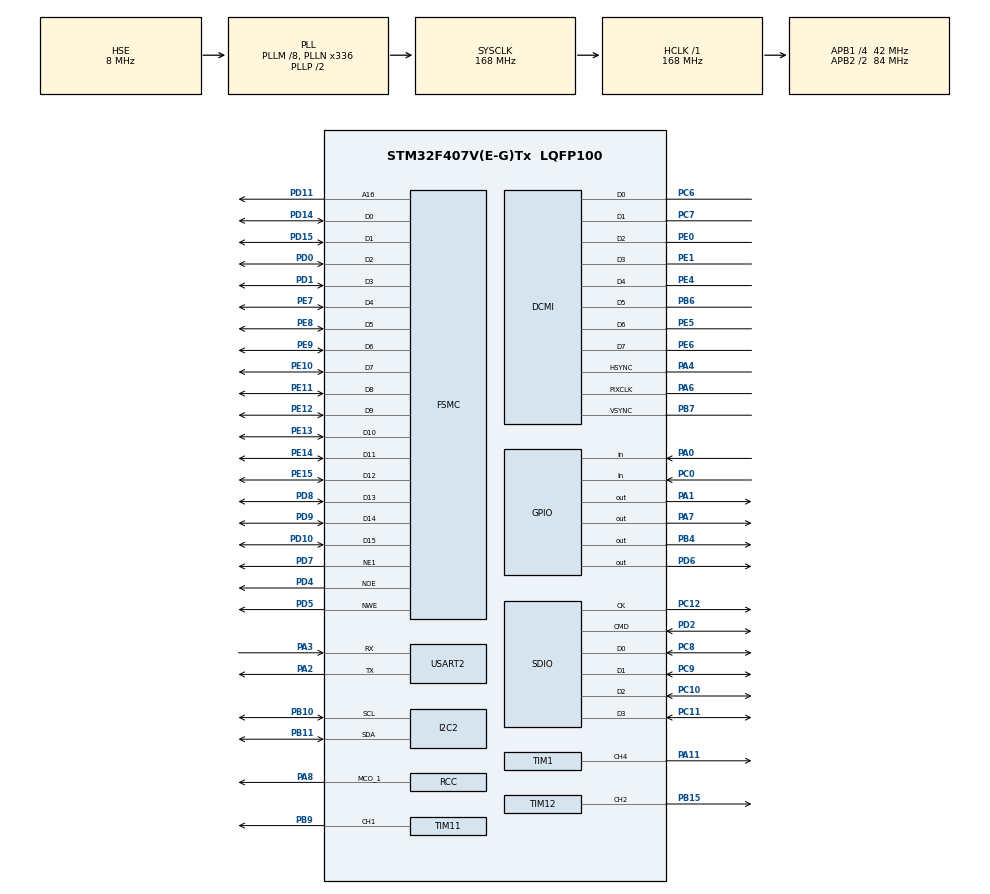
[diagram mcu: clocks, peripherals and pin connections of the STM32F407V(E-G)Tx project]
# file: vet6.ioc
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DCMI.HSPolarity=DCMI_HSPOLARITY_HIGH
DCMI.JPEGMode=DCMI_JPEG_DISABLE
DCMI.PCKPolarity=DCMI_PCKPOLARITY_RISING
Dma.DCMI.3.Direction=DMA_PERIPH_TO_MEMORY
Dma.DCMI.3.FIFOMode=DMA_FIFOMODE_ENABLE
Dma.DCMI.3.FIFOThreshold=DMA_FIFO_THRESHOLD_1QUARTERFULL
Dma.DCMI.3.Instance=DMA2_Stream1
Dma.DCMI.3.MemBurst=DMA_MBURST_SINGLE
Dma.DCMI.3.MemDataAlignment=DMA_MDATAALIGN_WORD
Dma.DCMI.3.MemInc=DMA_MINC_ENABLE
Dma.DCMI.3.Mode=DMA_CIRCULAR
Dma.DCMI.3.PeriphBurst=DMA_PBURST_SINGLE
Dma.DCMI.3.PeriphDataAlignment=DMA_PDATAALIGN_WORD
Dma.DCMI.3.PeriphInc=DMA_PINC_DISABLE
Dma.DCMI.3.Priority=DMA_PRIORITY_LOW
Dma.Request0=USART2_RX
Dma.Request1=SDIO_RX
Dma.Request2=SDIO_TX
Dma.Request3=DCMI
Dma.SDIO_RX.1.Direction=DMA_PERIPH_TO_MEMORY
Dma.SDIO_RX.1.FIFOMode=DMA_FIFOMODE_ENABLE
Dma.SDIO_RX.1.FIFOThreshold=DMA_FIFO_THRESHOLD_FULL
Dma.SDIO_RX.1.Instance=DMA2_Stream3
Dma.SDIO_RX.1.MemBurst=DMA_MBURST_INC4
Dma.SDIO_RX.1.MemDataAlignment=DMA_MDATAALIGN_WORD
Dma.SDIO_RX.1.MemInc=DMA_MINC_ENABLE
Dma.SDIO_RX.1.Mode=DMA_PFCTRL
Dma.SDIO_RX.1.PeriphBurst=DMA_PBURST_INC4
Dma.SDIO_RX.1.PeriphDataAlignment=DMA_PDATAALIGN_WORD
Dma.SDIO_RX.1.PeriphInc=DMA_PINC_DISABLE
Dma.SDIO_RX.1.Priority=DMA_PRIORITY_LOW
Dma.SDIO_TX.2.Direction=DMA_MEMORY_TO_PERIPH
Dma.SDIO_TX.2.FIFOMode=DMA_FIFOMODE_ENABLE
Dma.SDIO_TX.2.FIFOThreshold=DMA_FIFO_THRESHOLD_FULL
Dma.SDIO_TX.2.Instance=DMA2_Stream6
Dma.SDIO_TX.2.MemBurst=DMA_MBURST_INC4
Dma.SDIO_TX.2.MemDataAlignment=DMA_MDATAALIGN_WORD
Dma.SDIO_TX.2.MemInc=DMA_MINC_ENABLE
Dma.SDIO_TX.2.Mode=DMA_PFCTRL
Dma.SDIO_TX.2.PeriphBurst=DMA_PBURST_INC4
Dma.SDIO_TX.2.PeriphDataAlignment=DMA_PDATAALIGN_WORD
Dma.SDIO_TX.2.PeriphInc=DMA_PINC_DISABLE
Dma.SDIO_TX.2.Priority=DMA_PRIORITY_LOW
Dma.USART2_RX.0.Direction=DMA_PERIPH_TO_MEMORY
Dma.USART2_RX.0.FIFOMode=DMA_FIFOMODE_DISABLE
Dma.USART2_RX.0.Instance=DMA1_Stream5
Dma.USART2_RX.0.MemDataAlignment=DMA_MDATAALIGN_BYTE
Dma.USART2_RX.0.MemInc=DMA_MINC_ENABLE
Dma.USART2_RX.0.Mode=DMA_CIRCULAR
Dma.USART2_RX.0.PeriphDataAlignment=DMA_PDATAALIGN_BYTE
Dma.USART2_RX.0.PeriphInc=DMA_PINC_DISABLE
Dma.USART2_RX.0.Priority=DMA_PRIORITY_LOW
FATFS.BSP.number=1
FATFS.USE_DMA_CODE_SD=1
FATFS0.BSP.STBoard=false
FATFS0.BSP.api=Unknown
FATFS0.BSP.instance=PC0
FATFS0.BSP.ip=GPIO
FATFS0.BSP.mode=Input
FATFS0.BSP.name=Detect_SDIO
FATFS0.BSP.solution=PC0
FSMC.AddressSetupTime1=3
FSMC.BusTurnAroundDuration1=3
FSMC.DataSetupTime1=6
Mcu.Family=STM32F4
Mcu.Name=STM32F407V(E-G)Tx
Mcu.Package=LQFP100
NVIC.DCMI_IRQn=true\:0\:0\:false\:false\:true\:true\:true\:true
NVIC.DMA1_Stream5_IRQn=true\:0\:0\:false\:false\:true\:false\:true\:true
NVIC.DMA2_Stream1_IRQn=true\:0\:0\:false\:false\:true\:false\:true\:true
NVIC.DMA2_Stream3_IRQn=true\:0\:0\:false\:false\:true\:false\:true\:true
NVIC.DMA2_Stream6_IRQn=true\:0\:0\:false\:false\:true\:false\:true\:true
NVIC.PriorityGroup=NVIC_PRIORITYGROUP_4
NVIC.SDIO_IRQn=true\:0\:0\:false\:false\:true\:true\:true\:true
NVIC.USART2_IRQn=true\:0\:0\:false\:false\:true\:true\:true\:true
PA0-WKUP.GPIO_PuPd=GPIO_PULLDOWN
PA0-WKUP.Signal=GPIO_Input
PA1.GPIO_ModeDefaultOutputPP=GPIO_MODE_OUTPUT_OD
PA1.GPIO_PuPd=GPIO_NOPULL
PA1.Signal=GPIO_Output
PA11.Signal=S_TIM1_CH4
PA2.Mode=Asynchronous
PA2.Signal=USART2_TX
PA3.Mode=Asynchronous
PA3.Signal=USART2_RX
PA4.Mode=Slave_8_bits_External_Synchro
PA4.Signal=DCMI_HSYNC
PA6.Mode=Slave_8_bits_External_Synchro
PA6.Signal=DCMI_PIXCLK
PA7.GPIO_ModeDefaultOutputPP=GPIO_MODE_OUTPUT_OD
PA7.GPIO_PuPd=GPIO_NOPULL
PA7.Signal=GPIO_Output
PA8.Mode=Clock-out-1
PA8.Signal=RCC_MCO_1
PB10.GPIO_Pu=GPIO_PULLUP
PB10.Mode=I2C
PB10.Signal=I2C2_SCL
PB11.GPIO_Pu=GPIO_PULLUP
PB11.Mode=I2C
PB11.Signal=I2C2_SDA
PB15.Signal=S_TIM12_CH2
PB4.Signal=GPIO_Output
PB6.Mode=Slave_8_bits_External_Synchro
PB6.Signal=DCMI_D5
PB7.Mode=Slave_8_bits_External_Synchro
PB7.Signal=DCMI_VSYNC
PB9.Signal=S_TIM11_CH1
PC0.Signal=GPIO_Input
PC10.Mode=SD_4_bits_Wide_bus
PC10.Signal=SDIO_D2
PC11.Mode=SD_4_bits_Wide_bus
PC11.Signal=SDIO_D3
PC12.Mode=SD_4_bits_Wide_bus
PC12.Signal=SDIO_CK
PC6.Mode=Slave_8_bits_External_Synchro
PC6.Signal=DCMI_D0
PC7.Mode=Slave_8_bits_External_Synchro
PC7.Signal=DCMI_D1
PC8.Mode=SD_4_bits_Wide_bus
PC8.Signal=SDIO_D0
PC9.Mode=SD_4_bits_Wide_bus
PC9.Signal=SDIO_D1
PD0.Mode=16b-d1
PD0.Signal=FSMC_D2
PD1.Mode=16b-d1
PD1.Signal=FSMC_D3
PD10.Mode=16b-d1
PD10.Signal=FSMC_D15
PD11.Mode=A16_1
PD11.Signal=FSMC_A16
PD14.Mode=16b-d1
PD14.Signal=FSMC_D0
PD15.Mode=16b-d1
PD15.Signal=FSMC_D1
PD2.Mode=SD_4_bits_Wide_bus
PD2.Signal=SDIO_CMD
PD4.Mode=Lcd1
PD4.Signal=FSMC_NOE
PD5.Mode=Lcd1
PD5.Signal=FSMC_NWE
PD6.GPIO_ModeDefaultOutputPP=GPIO_MODE_OUTPUT_OD
PD6.GPIO_PuPd=GPIO_NOPULL
PD6.PinState=GPIO_PIN_RESET
PD6.Signal=GPIO_Output
PD7.Mode=NorPsramChipSelect1_1
PD7.Signal=FSMC_NE1
PD8.Mode=16b-d1
PD8.Signal=FSMC_D13
PD9.Mode=16b-d1
PD9.Signal=FSMC_D14
PE0.Mode=Slave_8_bits_External_Synchro
PE0.Signal=DCMI_D2
PE1.Mode=Slave_8_bits_External_Synchro
PE1.Signal=DCMI_D3
PE10.Mode=16b-d1
PE10.Signal=FSMC_D7
PE11.Mode=16b-d1
PE11.Signal=FSMC_D8
PE12.Mode=16b-d1
PE12.Signal=FSMC_D9
PE13.Mode=16b-d1
PE13.Signal=FSMC_D10
PE14.Mode=16b-d1
PE14.Signal=FSMC_D11
PE15.Mode=16b-d1
PE15.Signal=FSMC_D12
PE4.Mode=Slave_8_bits_External_Synchro
PE4.Signal=DCMI_D4
PE5.Mode=Slave_8_bits_External_Synchro
PE5.Signal=DCMI_D6
PE6.Mode=Slave_8_bits_External_Synchro
PE6.Signal=DCMI_D7
PE7.Mode=16b-d1
PE7.Signal=FSMC_D4
PE8.Mode=16b-d1
PE8.Signal=FSMC_D5
PE9.Mode=16b-d1
PE9.Signal=FSMC_D6
PH0-OSC_IN.Mode=HSE-External-Oscillator
PH0-OSC_IN.Signal=RCC_OSC_IN
PH1-OSC_OUT.Mode=HSE-External-Oscillator
PH1-OSC_OUT.Signal=RCC_OSC_OUT
ProjectManager.HeapSize=0x200
ProjectManager.StackSize=0x400
ProjectManager.TargetToolchain=STM32CubeIDE
RCC.48MHZClocksFreq_Value=48000000
RCC.AHBFreq_Value=168000000
RCC.APB1CLKDivider=RCC_HCLK_DIV4
RCC.APB1Freq_Value=42000000
RCC.APB1TimFreq_Value=84000000
RCC.APB2CLKDivider=RCC_HCLK_DIV2
RCC.APB2Freq_Value=84000000
RCC.APB2TimFreq_Value=168000000
RCC.CortexFreq_Value=168000000
RCC.HCLKFreq_Value=168000000
RCC.HSE_VALUE=8000000
RCC.HSI_VALUE=16000000
RCC.LSE_VALUE=32768
RCC.PLLM=8
RCC.PLLN=336
RCC.PLLQ=7
RCC.PLLSourceVirtual=RCC_PLLSOURCE_HSE
RCC.RCC_MCO1Source=RCC_MCO1SOURCE_HSE
RCC.SYSCLKFreq_VALUE=168000000
RCC.SYSCLKSource=RCC_SYSCLKSOURCE_PLLCLK
RCC.VCOOutputFreq_Value=336000000
SH.S_TIM11_CH1.0=TIM11_CH1,PWM Generation1 CH1
SH.S_TIM12_CH2.0=TIM12_CH2,PWM Generation2 CH2
SH.S_TIM1_CH4.0=TIM1_CH4,PWM Generation4 CH4
TIM1.Channel-PWM\ Generation4\ CH4=TIM_CHANNEL_4
TIM1.Period=16
TIM1.Pulse-PWM\ Generation4\ CH4=8
TIM11.Channel=TIM_CHANNEL_1
TIM11.Period=2000
TIM11.Pulse=1000
TIM12.Channel-PWM\ Generation2\ CH2=TIM_CHANNEL_2
TIM12.Period=2000
TIM12.Pulse-PWM\ Generation2\ CH2=1000
USART2.VirtualMode=VM_ASYNC
VP_FATFS_VS_SDIO.Mode=SDIO
VP_TIM11_VS_ClockSourceINT.Mode=Enable_Timer
board=custom

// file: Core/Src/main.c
/* USER CODE BEGIN Header */
/**
  ******************************************************************************
  * @file           : main.c
  * @brief          : Main program body
  ******************************************************************************
  * @attention
  *
  * Copyright (c) 2025 STMicroelectronics.
  * All rights reserved.
  *
  * This software is licensed under terms that can be found in the LICENSE file
  * in the root directory of this software component.
  * If no LICENSE file comes with this software, it is provided AS-IS.
  *
  ******************************************************************************
  */
#include "common.h"
#include "lprintf.h"
#include <string.h>

/* USER CODE END Header */
#include "main.h"
#include "fatfs.h"
#include "lcd_nt35510.h"

DCMI_HandleTypeDef hdcmi;
DMA_HandleTypeDef hdma_dcmi;

I2C_HandleTypeDef hi2c2;

SD_HandleTypeDef hsd;
DMA_HandleTypeDef hdma_sdio_rx;
DMA_HandleTypeDef hdma_sdio_tx;

TIM_HandleTypeDef htim1;
TIM_HandleTypeDef htim11;
TIM_HandleTypeDef htim12;

UART_HandleTypeDef huart2;
DMA_HandleTypeDef hdma_usart2_rx;

SRAM_HandleTypeDef hsram1;

/* USER CODE BEGIN PV */
int g_dcmi_cfg = 0x101;
int g_lcd=0;

/* USER CODE END PV */

void SystemClock_Config(void);
static void MX_GPIO_Init(void);
static void MX_DMA_Init(void);
static void MX_USART2_UART_Init(void);
static void MX_SDIO_SD_Init(void);
static void MX_FSMC_Init(void);
static void MX_I2C2_Init(void);
static void MX_TIM1_Init(void);
static void MX_TIM12_Init(void);
static void MX_TIM11_Init(void);

/* USER CODE BEGIN 0 */
void delay(int a)
{
    volatile int wt=a;
    while(wt--){
        volatile int wt2=1000;
        while(wt2--);
    }
}

void __io_putchar(char c)
{
    HAL_UART_Transmit(&huart2, (unsigned char*)&c, 1, 10000);
}

void putchars(const char *pt)
{
    HAL_UART_Transmit(&huart2, (const unsigned char*)pt, strlen((const char*)pt), 10000);
}

uint8_t __io_getchar()
{
	uint8_t c;
	HAL_UART_Receive(&huart2, &c, 1, HAL_MAX_DELAY);
	return c;
}

/* USER CODE END 0 */

int main(void)
{

  /* MCU Configuration--------------------------------------------------------*/

  /* Reset of all peripherals, Initializes the Flash interface and the Systick. */
  HAL_Init();

  /* Configure the system clock */
  SystemClock_Config();

  /* Initialize all configured peripherals */
  MX_GPIO_Init();
  MX_DMA_Init();
  MX_USART2_UART_Init();
  lprintf("uart2 ready\r\n");
  MX_SDIO_SD_Init();
#ifdef ENABLE_SDFS
  MX_FATFS_Init();
#else
  HAL_SD_Init(&hsd);
#endif
  MX_FSMC_Init();
  MX_I2C2_Init();
  MX_DCMI_Init();
  MX_TIM1_Init();
  MX_TIM12_Init();
  MX_TIM11_Init();
  /* USER CODE BEGIN 2 */
  if (HAL_TIM_PWM_Start(&htim1, TIM_CHANNEL_4) != HAL_OK)
  {
    /* PWM Generation Error */
    lprintf("pwm on PA11 fail\r\n");
    Error_Handler();
  }
  else{
    lprintf("pwm on PA11 start OK\r\n");
  }

  /* USER CODE END 2 */

  /* Infinite loop */
  /* USER CODE BEGIN WHILE */
  int t=5;
  while (t--)
  {
    /* USER CODE END WHILE */

    /* USER CODE BEGIN 3 */
    HAL_GPIO_WritePin(GPIOB, GPIO_PIN_4, GPIO_PIN_SET);
    delay(100);
    logline;
    HAL_GPIO_WritePin(GPIOB, GPIO_PIN_4, GPIO_PIN_RESET);
    delay(100);
    logline;
  }
  prt_dec(HAL_RCC_GetHCLKFreq());
  prt_dec(HAL_GetTickFreq());
  if(0x5510==LCD_Read_ID()){
      g_lcd=1;
      lprintf("detect lcd controller:nt35510, init lcd\r\n");
      LCD_Init();
  }
  cam_init(0xa);
  run_cmd_interface();
  while(1);
  /* USER CODE END 3 */
}

void SystemClock_Config(void)
{
  RCC_OscInitTypeDef RCC_OscInitStruct = {0};
  RCC_ClkInitTypeDef RCC_ClkInitStruct = {0};

  /** Configure the main internal regulator output voltage
  */
  __HAL_RCC_PWR_CLK_ENABLE();
  __HAL_PWR_VOLTAGESCALING_CONFIG(PWR_REGULATOR_VOLTAGE_SCALE1);

  /** Initializes the RCC Oscillators according to the specified parameters
  * in the RCC_OscInitTypeDef structure.
  */
  RCC_OscInitStruct.OscillatorType = RCC_OSCILLATORTYPE_HSE;
  RCC_OscInitStruct.HSEState = RCC_HSE_ON;
  RCC_OscInitStruct.PLL.PLLState = RCC_PLL_ON;
  RCC_OscInitStruct.PLL.PLLSource = RCC_PLLSOURCE_HSE;
  RCC_OscInitStruct.PLL.PLLM = 8;
  RCC_OscInitStruct.PLL.PLLN = 336;
  RCC_OscInitStruct.PLL.PLLP = RCC_PLLP_DIV2;
  RCC_OscInitStruct.PLL.PLLQ = 7;
  if (HAL_RCC_OscConfig(&RCC_OscInitStruct) != HAL_OK)
  {
    Error_Handler();
  }

  /** Initializes the CPU, AHB and APB buses clocks
  */
  RCC_ClkInitStruct.ClockType = RCC_CLOCKTYPE_HCLK|RCC_CLOCKTYPE_SYSCLK
                              |RCC_CLOCKTYPE_PCLK1|RCC_CLOCKTYPE_PCLK2;
  RCC_ClkInitStruct.SYSCLKSource = RCC_SYSCLKSOURCE_PLLCLK;
  RCC_ClkInitStruct.AHBCLKDivider = RCC_SYSCLK_DIV1;
  RCC_ClkInitStruct.APB1CLKDivider = RCC_HCLK_DIV4;
  RCC_ClkInitStruct.APB2CLKDivider = RCC_HCLK_DIV2;

  if (HAL_RCC_ClockConfig(&RCC_ClkInitStruct, FLASH_LATENCY_5) != HAL_OK)
  {
    Error_Handler();
  }
  HAL_RCC_MCOConfig(RCC_MCO1, RCC_MCO1SOURCE_HSE, RCC_MCODIV_1);
}

void MX_DCMI_Init(void)
{

  hdcmi.Instance = DCMI;
  hdcmi.Init.SynchroMode = DCMI_SYNCHRO_HARDWARE;
  if(g_dcmi_cfg&0xf){
      hdcmi.Init.PCKPolarity = DCMI_PCKPOLARITY_RISING;
  }
  else{
      hdcmi.Init.PCKPolarity = DCMI_PCKPOLARITY_FALLING;
  }
  if(g_dcmi_cfg&0xf00){
      hdcmi.Init.VSPolarity = DCMI_VSPOLARITY_HIGH;
  }
  else{
      hdcmi.Init.VSPolarity = DCMI_VSPOLARITY_LOW;
  }
  if(g_dcmi_cfg&0xf0){
      hdcmi.Init.HSPolarity = DCMI_HSPOLARITY_HIGH;
  }
  else{
      hdcmi.Init.HSPolarity = DCMI_HSPOLARITY_LOW;
  }
  hdcmi.Init.CaptureRate = DCMI_CR_ALL_FRAME;
  hdcmi.Init.ExtendedDataMode = DCMI_EXTEND_DATA_8B;
  hdcmi.Init.JPEGMode = DCMI_JPEG_DISABLE;
  prt_hex(hdcmi.Init.PCKPolarity);
  prt_hex(hdcmi.Init.HSPolarity);
  prt_hex(hdcmi.Init.VSPolarity);
  if (HAL_DCMI_Init(&hdcmi) != HAL_OK)
  {
    Error_Handler();
  }

}

static void MX_I2C2_Init(void)
{

  hi2c2.Instance = I2C2;
  hi2c2.Init.ClockSpeed = 100000;
  hi2c2.Init.DutyCycle = I2C_DUTYCYCLE_2;
  hi2c2.Init.OwnAddress1 = 0;
  hi2c2.Init.AddressingMode = I2C_ADDRESSINGMODE_7BIT;
  hi2c2.Init.DualAddressMode = I2C_DUALADDRESS_DISABLE;
  hi2c2.Init.OwnAddress2 = 0;
  hi2c2.Init.GeneralCallMode = I2C_GENERALCALL_DISABLE;
  hi2c2.Init.NoStretchMode = I2C_NOSTRETCH_DISABLE;
  if (HAL_I2C_Init(&hi2c2) != HAL_OK)
  {
    Error_Handler();
  }

}

static void MX_SDIO_SD_Init(void)
{

  hsd.Instance = SDIO;
  hsd.Init.ClockEdge = SDIO_CLOCK_EDGE_RISING;
  hsd.Init.ClockBypass = SDIO_CLOCK_BYPASS_DISABLE;
  hsd.Init.ClockPowerSave = SDIO_CLOCK_POWER_SAVE_DISABLE;
  hsd.Init.BusWide = SDIO_BUS_WIDE_1B;
  hsd.Init.HardwareFlowControl = SDIO_HARDWARE_FLOW_CONTROL_DISABLE;
  hsd.Init.ClockDiv = 0;

}

static void MX_TIM1_Init(void)
{

  TIM_MasterConfigTypeDef sMasterConfig = {0};
  TIM_OC_InitTypeDef sConfigOC = {0};
  TIM_BreakDeadTimeConfigTypeDef sBreakDeadTimeConfig = {0};

  htim1.Instance = TIM1;
  htim1.Init.Prescaler = 0;
  htim1.Init.CounterMode = TIM_COUNTERMODE_UP;
  htim1.Init.Period = 20;
  htim1.Init.ClockDivision = TIM_CLOCKDIVISION_DIV1;
  htim1.Init.RepetitionCounter = 0;
  htim1.Init.AutoReloadPreload = TIM_AUTORELOAD_PRELOAD_DISABLE;
  if (HAL_TIM_PWM_Init(&htim1) != HAL_OK)
  {
    Error_Handler();
  }
  sMasterConfig.MasterOutputTrigger = TIM_TRGO_RESET;
  sMasterConfig.MasterSlaveMode = TIM_MASTERSLAVEMODE_DISABLE;
  if (HAL_TIMEx_MasterConfigSynchronization(&htim1, &sMasterConfig) != HAL_OK)
  {
    Error_Handler();
  }
  sConfigOC.OCMode = TIM_OCMODE_PWM1;
  sConfigOC.Pulse = 10;
  sConfigOC.OCPolarity = TIM_OCPOLARITY_HIGH;
  sConfigOC.OCFastMode = TIM_OCFAST_DISABLE;
  sConfigOC.OCIdleState = TIM_OCIDLESTATE_RESET;
  sConfigOC.OCNIdleState = TIM_OCNIDLESTATE_RESET;
  if (HAL_TIM_PWM_ConfigChannel(&htim1, &sConfigOC, TIM_CHANNEL_4) != HAL_OK)
  {
    Error_Handler();
  }
  sBreakDeadTimeConfig.OffStateRunMode = TIM_OSSR_DISABLE;
  sBreakDeadTimeConfig.OffStateIDLEMode = TIM_OSSI_DISABLE;
  sBreakDeadTimeConfig.LockLevel = TIM_LOCKLEVEL_OFF;
  sBreakDeadTimeConfig.DeadTime = 0;
  sBreakDeadTimeConfig.BreakState = TIM_BREAK_DISABLE;
  sBreakDeadTimeConfig.BreakPolarity = TIM_BREAKPOLARITY_HIGH;
  sBreakDeadTimeConfig.AutomaticOutput = TIM_AUTOMATICOUTPUT_DISABLE;
  if (HAL_TIMEx_ConfigBreakDeadTime(&htim1, &sBreakDeadTimeConfig) != HAL_OK)
  {
    Error_Handler();
  }
  HAL_TIM_MspPostInit(&htim1);

}

static void MX_TIM11_Init(void)
{

  TIM_OC_InitTypeDef sConfigOC = {0};

  htim11.Instance = TIM11;
  htim11.Init.Prescaler = 0;
  htim11.Init.CounterMode = TIM_COUNTERMODE_UP;
  htim11.Init.Period = 2000;
  htim11.Init.ClockDivision = TIM_CLOCKDIVISION_DIV1;
  htim11.Init.AutoReloadPreload = TIM_AUTORELOAD_PRELOAD_DISABLE;
  if (HAL_TIM_Base_Init(&htim11) != HAL_OK)
  {
    Error_Handler();
  }
  if (HAL_TIM_PWM_Init(&htim11) != HAL_OK)
  {
    Error_Handler();
  }
  sConfigOC.OCMode = TIM_OCMODE_PWM1;
  sConfigOC.Pulse = 1000;
  sConfigOC.OCPolarity = TIM_OCPOLARITY_HIGH;
  sConfigOC.OCFastMode = TIM_OCFAST_DISABLE;
  if (HAL_TIM_PWM_ConfigChannel(&htim11, &sConfigOC, TIM_CHANNEL_1) != HAL_OK)
  {
    Error_Handler();
  }
  HAL_TIM_MspPostInit(&htim11);

}

static void MX_TIM12_Init(void)
{

  TIM_OC_InitTypeDef sConfigOC = {0};

  htim12.Instance = TIM12;
  htim12.Init.Prescaler = 0;
  htim12.Init.CounterMode = TIM_COUNTERMODE_UP;
  htim12.Init.Period = 2000;
  htim12.Init.ClockDivision = TIM_CLOCKDIVISION_DIV1;
  htim12.Init.AutoReloadPreload = TIM_AUTORELOAD_PRELOAD_DISABLE;
  if (HAL_TIM_PWM_Init(&htim12) != HAL_OK)
  {
    Error_Handler();
  }
  sConfigOC.OCMode = TIM_OCMODE_PWM1;
  sConfigOC.Pulse = 1000;
  sConfigOC.OCPolarity = TIM_OCPOLARITY_HIGH;
  sConfigOC.OCFastMode = TIM_OCFAST_DISABLE;
  if (HAL_TIM_PWM_ConfigChannel(&htim12, &sConfigOC, TIM_CHANNEL_2) != HAL_OK)
  {
    Error_Handler();
  }
  HAL_TIM_MspPostInit(&htim12);

}

static void MX_USART2_UART_Init(void)
{

  huart2.Instance = USART2;
  huart2.Init.BaudRate = 115200;
  huart2.Init.WordLength = UART_WORDLENGTH_8B;
  huart2.Init.StopBits = UART_STOPBITS_1;
  huart2.Init.Parity = UART_PARITY_NONE;
  huart2.Init.Mode = UART_MODE_TX_RX;
  huart2.Init.HwFlowCtl = UART_HWCONTROL_NONE;
  huart2.Init.OverSampling = UART_OVERSAMPLING_16;
  if (HAL_UART_Init(&huart2) != HAL_OK)
  {
    Error_Handler();
  }

}

static void MX_DMA_Init(void)
{

  /* DMA controller clock enable */
  __HAL_RCC_DMA1_CLK_ENABLE();
  __HAL_RCC_DMA2_CLK_ENABLE();

  /* DMA interrupt init */
  /* DMA1_Stream5_IRQn interrupt configuration */
  HAL_NVIC_SetPriority(DMA1_Stream5_IRQn, 0, 0);
  HAL_NVIC_EnableIRQ(DMA1_Stream5_IRQn);
  /* DMA2_Stream1_IRQn interrupt configuration */
  HAL_NVIC_SetPriority(DMA2_Stream1_IRQn, 0, 0);
  HAL_NVIC_EnableIRQ(DMA2_Stream1_IRQn);
  /* DMA2_Stream3_IRQn interrupt configuration */
  HAL_NVIC_SetPriority(DMA2_Stream3_IRQn, 0, 0);
  HAL_NVIC_EnableIRQ(DMA2_Stream3_IRQn);
  /* DMA2_Stream6_IRQn interrupt configuration */
  HAL_NVIC_SetPriority(DMA2_Stream6_IRQn, 0, 0);
  HAL_NVIC_EnableIRQ(DMA2_Stream6_IRQn);

}

static void MX_GPIO_Init(void)
{
  GPIO_InitTypeDef GPIO_InitStruct = {0};

  /* GPIO Ports Clock Enable */
  __HAL_RCC_GPIOE_CLK_ENABLE();
  __HAL_RCC_GPIOH_CLK_ENABLE();
  __HAL_RCC_GPIOC_CLK_ENABLE();
  __HAL_RCC_GPIOA_CLK_ENABLE();
  __HAL_RCC_GPIOB_CLK_ENABLE();
  __HAL_RCC_GPIOD_CLK_ENABLE();

  /*Configure GPIO pin Output Level */
  HAL_GPIO_WritePin(GPIOA, GPIO_PIN_1|GPIO_PIN_7, GPIO_PIN_RESET);

  /*Configure GPIO pin Output Level */
  HAL_GPIO_WritePin(GPIOD, GPIO_PIN_6, GPIO_PIN_RESET);

  /*Configure GPIO pin Output Level */
  HAL_GPIO_WritePin(GPIOB, GPIO_PIN_4, GPIO_PIN_RESET);

  /*Configure GPIO pin : PC0 */
  GPIO_InitStruct.Pin = GPIO_PIN_0;
  GPIO_InitStruct.Mode = GPIO_MODE_INPUT;
  GPIO_InitStruct.Pull = GPIO_NOPULL;
  HAL_GPIO_Init(GPIOC, &GPIO_InitStruct);

  /*Configure GPIO pin : PA0 */
  GPIO_InitStruct.Pin = GPIO_PIN_0;
  GPIO_InitStruct.Mode = GPIO_MODE_INPUT;
  GPIO_InitStruct.Pull = GPIO_PULLDOWN;
  HAL_GPIO_Init(GPIOA, &GPIO_InitStruct);

  /*Configure GPIO pins : PA1 PA7 */
  GPIO_InitStruct.Pin = GPIO_PIN_1|GPIO_PIN_7;
  GPIO_InitStruct.Mode = GPIO_MODE_OUTPUT_OD;
  GPIO_InitStruct.Pull = GPIO_NOPULL;
  GPIO_InitStruct.Speed = GPIO_SPEED_FREQ_LOW;
  HAL_GPIO_Init(GPIOA, &GPIO_InitStruct);

  /*Configure GPIO pin : PA8 */
  GPIO_InitStruct.Pin = GPIO_PIN_8;
  GPIO_InitStruct.Mode = GPIO_MODE_AF_PP;
  GPIO_InitStruct.Pull = GPIO_NOPULL;
  GPIO_InitStruct.Speed = GPIO_SPEED_FREQ_LOW;
  GPIO_InitStruct.Alternate = GPIO_AF0_MCO;
  HAL_GPIO_Init(GPIOA, &GPIO_InitStruct);

  /*Configure GPIO pin : PD6 */
  GPIO_InitStruct.Pin = GPIO_PIN_6;
  GPIO_InitStruct.Mode = GPIO_MODE_OUTPUT_OD;
  GPIO_InitStruct.Pull = GPIO_NOPULL;
  GPIO_InitStruct.Speed = GPIO_SPEED_FREQ_LOW;
  HAL_GPIO_Init(GPIOD, &GPIO_InitStruct);

  /*Configure GPIO pin : PB4 */
  GPIO_InitStruct.Pin = GPIO_PIN_4;
  GPIO_InitStruct.Mode = GPIO_MODE_OUTPUT_PP;
  GPIO_InitStruct.Pull = GPIO_NOPULL;
  GPIO_InitStruct.Speed = GPIO_SPEED_FREQ_LOW;
  HAL_GPIO_Init(GPIOB, &GPIO_InitStruct);

}

/* FSMC initialization function */
static void MX_FSMC_Init(void)
{

  FSMC_NORSRAM_TimingTypeDef Timing = {0};

  /** Perform the SRAM1 memory initialization sequence
  */
  hsram1.Instance = FSMC_NORSRAM_DEVICE;
  hsram1.Extended = FSMC_NORSRAM_EXTENDED_DEVICE;
  /* hsram1.Init */
  hsram1.Init.NSBank = FSMC_NORSRAM_BANK1;
  hsram1.Init.DataAddressMux = FSMC_DATA_ADDRESS_MUX_DISABLE;
  hsram1.Init.MemoryType = FSMC_MEMORY_TYPE_SRAM;
  hsram1.Init.MemoryDataWidth = FSMC_NORSRAM_MEM_BUS_WIDTH_16;
  hsram1.Init.BurstAccessMode = FSMC_BURST_ACCESS_MODE_DISABLE;
  hsram1.Init.WaitSignalPolarity = FSMC_WAIT_SIGNAL_POLARITY_LOW;
  hsram1.Init.WrapMode = FSMC_WRAP_MODE_DISABLE;
  hsram1.Init.WaitSignalActive = FSMC_WAIT_TIMING_BEFORE_WS;
  hsram1.Init.WriteOperation = FSMC_WRITE_OPERATION_ENABLE;
  hsram1.Init.WaitSignal = FSMC_WAIT_SIGNAL_DISABLE;
  hsram1.Init.ExtendedMode = FSMC_EXTENDED_MODE_DISABLE;
  hsram1.Init.AsynchronousWait = FSMC_ASYNCHRONOUS_WAIT_DISABLE;
  hsram1.Init.WriteBurst = FSMC_WRITE_BURST_DISABLE;
  hsram1.Init.PageSize = FSMC_PAGE_SIZE_NONE;
  /* Timing */
  Timing.AddressSetupTime = 2;
  Timing.AddressHoldTime = 15;
  Timing.DataSetupTime = 4;
  Timing.BusTurnAroundDuration = 2;
  Timing.CLKDivision = 16;
  Timing.DataLatency = 17;
  Timing.AccessMode = FSMC_ACCESS_MODE_A;
  /* ExtTiming */

  if (HAL_SRAM_Init(&hsram1, &Timing, NULL) != HAL_OK)
  {
    Error_Handler( );
  }

}

/* USER CODE BEGIN 4 */
char duf[20];
static int gdur=0;
void HAL_UARTEx_RxEventCallback(UART_HandleTypeDef *huart, uint16_t Size)
{
  /* Prevent unused argument(s) compilation warning */
  UNUSED(huart);
  UNUSED(Size);

  prt_dec(Size);
  gdur=1;
}

void start_dma_uart_recv()
{
    logline;
    prt_hex(duf);
    //HAL_UART_Receive_DMA(&huart2, (uint8_t*) duf, 20);
    HAL_UARTEx_ReceiveToIdle_DMA(&huart2, (uint8_t*) duf, 20);
}
int dma_uart_recved()
{
    int ret=0;
    if(gdur>0){
        ret=1;
        gdur=0;
    }
    return ret;
}
uint32_t sd_rx_cnt=0;
uint32_t sd_tx_cnt=0;
#ifndef ENABLE_SDFS
void HAL_SD_TxCpltCallback(SD_HandleTypeDef *hsd)
{
    sd_tx_cnt++;
}
void HAL_SD_RxCpltCallback(SD_HandleTypeDef *hsd)
{
    sd_rx_cnt++;
}
#endif
void show_sdinfo()
{
    uint64_t sdcapa;
    HAL_SD_CardInfoTypeDef CardInfo;
    HAL_SD_GetCardInfo(&hsd, &CardInfo);
    prt_hex(CardInfo.CardType    );
    prt_hex(CardInfo.CardVersion );
    prt_hex(CardInfo.Class       );
    prt_hex(CardInfo.RelCardAdd  );
    prt_dec(CardInfo.BlockNbr    );
    prt_dec(CardInfo.BlockSize   );
    prt_dec(CardInfo.LogBlockNbr );
    prt_dec(CardInfo.LogBlockSize);
    sdcapa=(uint64_t)CardInfo.BlockNbr*CardInfo.BlockSize;
    lprintf("sd capacity is %d(%d) Gbytes\r\n",
            (uint32_t)(sdcapa/1024/1024/1024),
            (uint32_t)(sdcapa/1000000000));
}
void sd_write(uint8_t*w_buf, uint32_t p1, uint32_t p2)
{
    uint32_t ct=sd_tx_cnt;
    HAL_StatusTypeDef ret;
    //prt_hex(HAL_SD_GetCardState(&hsd));
    ret=HAL_SD_WriteBlocks_DMA(&hsd, w_buf, p1, p2);
    (void)ret;
    //prt_hex(ret);
    //lprintf("waiting sd wt done\r\n");
    while(ct==sd_tx_cnt);
    //lprintf("wait sd status\r\n");
    while(HAL_SD_GetCardState(&hsd) != HAL_SD_CARD_TRANSFER );
}
void sd_read(uint8_t*read_buf, uint32_t p1, uint32_t p2)
{
    uint32_t ct=sd_rx_cnt;
    HAL_StatusTypeDef ret;
    //prt_hex(HAL_SD_GetCardState(&hsd));
    ret=HAL_SD_ReadBlocks_DMA(&hsd, read_buf, p1, p2);
    (void)ret;
    //prt_hex(ret);
    //lprintf("waiting sd rx done\r\n");
    while(ct==sd_rx_cnt);
    //lprintf("wait sd status\r\n");
    while(HAL_SD_GetCardState(&hsd) != HAL_SD_CARD_TRANSFER );
}
/* USER CODE END 4 */

void Error_Handler(void)
{
  /* USER CODE BEGIN Error_Handler_Debug */
  /* User can add his own implementation to report the HAL error return state */
  __disable_irq();
  logline;
  while (1)
  {
  }
  /* USER CODE END Error_Handler_Debug */
}
